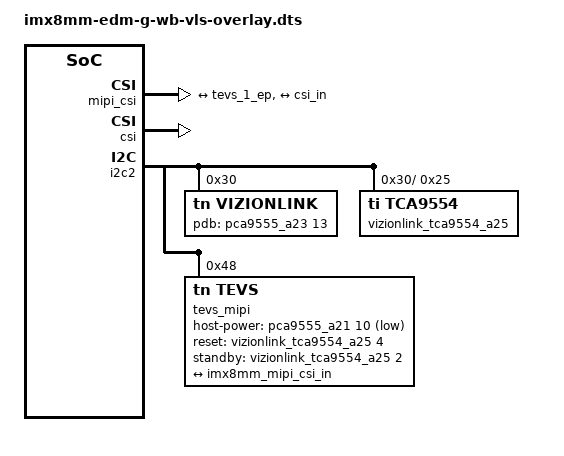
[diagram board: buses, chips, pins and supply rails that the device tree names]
// SPDX-License-Identifier: (GPL-2.0 OR MIT)
/*
 * Copyright 2024 TechNexion Ltd.
 *
 * Author: Nian Yang <nian.yang@technexion.com>
 *
 */

/dts-v1/;
/plugin/;

#include <dt-bindings/interrupt-controller/irq.h>
#include <dt-bindings/clock/imx8mm-clock.h>
#include <dt-bindings/gpio/gpio.h>

/ {
	fragment@0 {
		target = <&mipi_csi>;
		__overlay__ {
			status = "okay";

			ports {
				port@0 {
					imx8mm_mipi_csi_in: endpoint {
						remote-endpoint = <&tevs_1_ep>;
						data-lanes = <1 2>;
					};
				};
				port@1 {
					imx8mm_mipi_csi_out: endpoint {
						remote-endpoint = <&csi_in>;
					};
				};
			};
		};
	};

	fragment@1 {
		target = <&csi>;
		__overlay__ {
			status = "okay";
		};
	};

	fragment@2 {
		target = <&i2c2>;
		__overlay__ {
			#address-cells = <1>;
			#size-cells = <0>;
			status = "okay";

			vizionlink: vizionlink@30 {
				compatible = "tn,vizionlink";
				reg = <0x30>;
				pdb-gpios = <&pca9555_a23 13 GPIO_ACTIVE_HIGH>;
				ser_alias_id = <0x1b>;

				//i2c addr alias map "gpio extender, eeprom , sensor"
				i2c_addr_alias_map_local = <0x25 0x48>;
				i2c_addr_alias_map_remote = <0x25 0x48>;

				//deserializer output csi lanes 1~4. default 4
				des_csi_lanes = <2>;

				//1: Enable 0: Disable continuous clock. default 0
				des_csi_continuous_clock = <0>;

				//serializer input csi lanes 1~4. default 4
				ser_csi_lanes = <2>;

				//1: Enable 0: Disable continuous clock. default 0
				ser_csi_continuous_clock = <0>;

				status = "okay";

				i2c_dev_list {
					#address-cells = <1>;
					#size-cells = <0>;

					vizionlink_tca9554_a25: vizionlink_tca9554@25 {
						compatible = "ti,tca9554";
						reg = <0x25>;
						gpio-controller;
						#gpio-cells = <2>;
						status = "okay";
					};
				};
			};

			tevs_mipi: tevs_mipi@48 {
				compatible = "tn,tevs";
				reg = <0x48>;
				status = "okay";

				pinctrl-names = "default";
				pinctrl-0 = <&pinctrl_csi_rst>;
				host-power-gpios = <&pca9555_a21 10 GPIO_ACTIVE_LOW>;
				reset-gpios = <&vizionlink_tca9554_a25 4 GPIO_ACTIVE_HIGH>;
				standby-gpios = <&vizionlink_tca9554_a25 2 GPIO_ACTIVE_HIGH>;
				supports-over-4k-res;

				port {
					tevs_1_ep: endpoint {
						remote-endpoint = <&imx8mm_mipi_csi_in>;
						data-lanes = <1 2>;
						clock-lanes = <0>;
						clock-noncontinuous;
						link-frequencies = /bits/ 64 <400000000>;
					};
				};
			};
		};
	};
};
